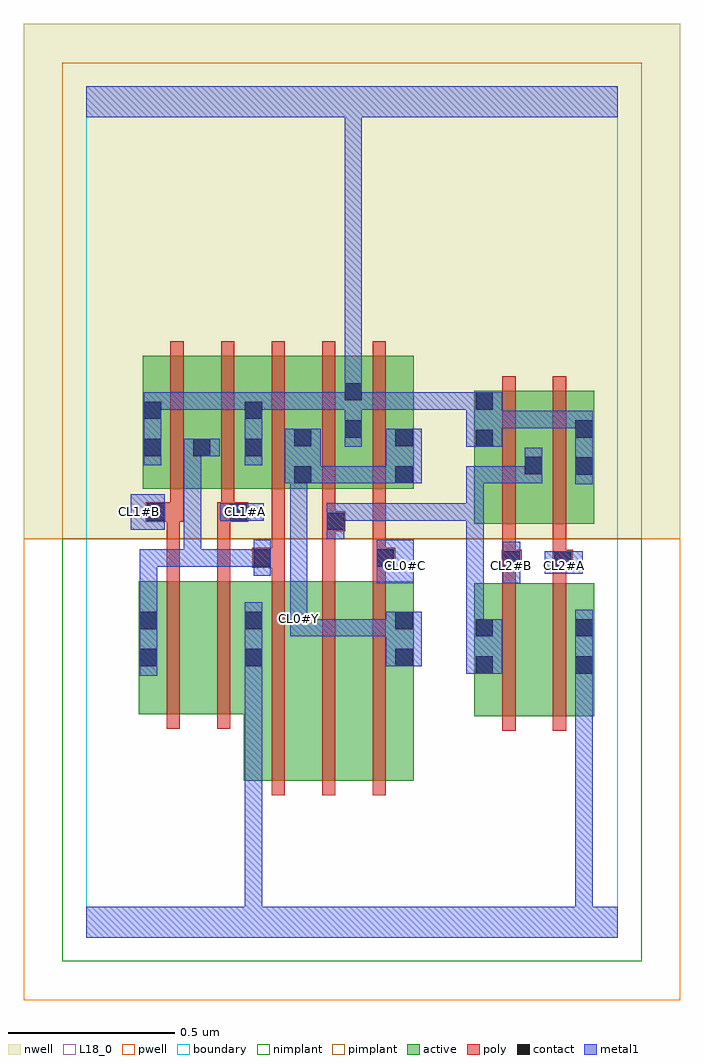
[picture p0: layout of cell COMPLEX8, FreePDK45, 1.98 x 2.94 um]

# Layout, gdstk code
import gdstk
lib = gdstk.Library(unit=1e-6, precision=1e-09)
def R(c, l, rs):  # rectangles x0, y0, x1, y1
    for r in rs: c.add(gdstk.rectangle(r[:2], r[2:], *l))
def A(c, l, x, y, w, h, nx, ny, dx, dy):  # array of equal rectangles
    R(c, l, [(x+i*dx, y+j*dy, x+i*dx+w, y+j*dy+h) for i in range(nx) for j in range(ny)])
active = (1, 0)
pwell = (2, 0)
nwell = (3, 0)
nimplant = (4, 0)
pimplant = (5, 0)
poly = (9, 0)
contact = (10, 0)
metal1 = (11, 0)
L18_0 = (18, 0)
boundary = (235, 0)

complex8 = lib.new_cell('COMPLEX8')
R(complex8, active, [(0.474,0.472,0.654,1.072), (0.474,0.472,0.534,0.984), (0.654,0.472,0.806,1.072), (0.806,0.472,0.986,1.072), (0.926,0.556,0.986,1.072), (1.168,0.666,1.228,1.066), (1.168,0.666,1.348,1.066), (1.348,0.666,1.528,1.066), (1.468,0.666,1.528,1.066), (0.158,0.672,0.218,1.072), (0.158,0.672,0.338,1.072), (0.338,0.672,0.534,1.072), (1.168,1.244,1.228,1.644), (1.168,1.244,1.376,1.644), (1.316,1.244,1.528,1.644), (1.468,1.244,1.528,1.644), (0.17,1.35,0.378,1.75), (0.17,1.35,0.23,1.644), (0.318,1.35,0.534,1.75), (0.474,1.35,0.682,1.75), (0.622,1.35,0.834,1.75), (0.774,1.35,0.986,1.75), (0.926,1.35,0.986,1.644), (0.622,1.362,0.682,1.644), (0.774,1.372,0.834,1.75), (1.316,1.39,1.376,1.644), (0.318,1.444,0.378,1.644), (0.474,1.444,0.534,1.644)])
R(complex8, pwell, [(-0.188,-0.188,1.788,1.2)])
R(complex8, nwell, [(-0.188,1.2,1.788,2.748)])
R(complex8, nimplant, [(-0.072,-0.072,1.672,1.2)])
R(complex8, pimplant, [(-0.072,1.2,1.672,2.632)])
A(complex8, poly, 0.558, 0.428, 0.04, 0.688, 3, 1, 0.152, 0)
A(complex8, poly, 0.254, 1.306, 0.04, 0.488, 5, 1, 0.152, 0)
R(complex8, poly, [(1.252,0.622,1.292,1.11), (1.404,0.622,1.444,1.11), (0.242,0.628,0.282,1.116), (0.394,0.628,0.434,1.116), (1.252,1.07,1.292,1.146), (1.404,1.07,1.444,1.146), (0.242,1.076,0.282,1.29), (0.394,1.076,0.434,1.29), (0.558,1.076,0.598,1.152), (0.71,1.076,0.75,1.262), (0.862,1.076,0.902,1.152), (1.25,1.106,1.31,1.166), (1.404,1.106,1.464,1.166), (0.5,1.112,0.598,1.172), (0.862,1.112,0.93,1.172), (1.252,1.126,1.292,1.24), (1.252,1.126,1.292,1.166), (1.252,1.126,1.292,1.166), (1.404,1.126,1.444,1.24), (1.404,1.126,1.444,1.166), (1.404,1.126,1.444,1.166), (0.558,1.132,0.598,1.172), (0.558,1.132,0.598,1.172), (0.558,1.132,0.598,1.346), (0.862,1.132,0.902,1.172), (0.862,1.132,0.902,1.172), (0.862,1.132,0.902,1.346), (1.252,1.2,1.292,1.688), (1.404,1.2,1.444,1.688), (0.71,1.222,0.75,1.262), (0.71,1.222,0.75,1.262), (0.71,1.222,0.78,1.282), (0.71,1.242,0.75,1.346), (0.18,1.25,0.294,1.31), (0.242,1.25,0.282,1.29), (0.242,1.25,0.282,1.29), (0.394,1.25,0.434,1.29), (0.394,1.25,0.434,1.29), (0.394,1.25,0.488,1.31), (0.254,1.27,0.294,1.346), (0.406,1.27,0.446,1.346)])
R(complex8, contact, [(1.172,0.794,1.224,0.846), (1.472,0.794,1.524,0.846), (0.162,0.816,0.214,0.868), (0.478,0.816,0.53,0.868), (0.93,0.816,0.982,0.868), (1.172,0.906,1.224,0.958), (1.472,0.906,1.524,0.958), (0.162,0.928,0.214,0.98), (0.478,0.928,0.53,0.98), (0.93,0.928,0.982,0.98), (1.254,1.11,1.306,1.162), (1.408,1.11,1.46,1.162), (0.504,1.116,0.556,1.168), (0.874,1.116,0.926,1.168), (0.724,1.226,0.776,1.278), (0.184,1.254,0.236,1.306), (0.432,1.254,0.484,1.306), (0.626,1.366,0.678,1.418), (0.93,1.366,0.982,1.418), (1.472,1.392,1.524,1.444), (1.32,1.394,1.372,1.446), (0.174,1.448,0.226,1.5), (0.322,1.448,0.374,1.5), (0.478,1.448,0.53,1.5), (1.172,1.476,1.224,1.528), (0.626,1.478,0.678,1.53), (0.93,1.478,0.982,1.53), (0.778,1.504,0.83,1.556), (1.472,1.504,1.524,1.556), (0.174,1.56,0.226,1.612), (0.478,1.56,0.53,1.612), (1.172,1.588,1.224,1.64), (0.778,1.616,0.83,1.668)])
R(complex8, metal1, [(0,0,1.6,0.092), (0.478,0.04,0.53,0.092), (0.478,0.04,0.53,0.092), (0.478,0.04,0.53,0.092), (0.478,0.04,0.53,0.092), (0.478,0.04,0.53,0.092), (0.478,0.04,0.53,0.092), (0.478,0.04,0.53,0.092), (0.478,0.04,0.53,0.092), (0.478,0.04,0.53,0.84), (1.472,0.04,1.524,0.818), (1.472,0.04,1.524,0.092), (1.472,0.04,1.524,0.092), (1.472,0.04,1.524,0.092), (1.472,0.04,1.524,0.092), (1.472,0.04,1.524,0.092), (1.472,0.04,1.524,0.092), (1.472,0.04,1.524,0.092), (1.472,0.04,1.524,0.092), (1.472,0.04,1.524,0.092), (1.472,0.04,1.524,0.092), (1.472,0.04,1.524,0.092), (1.472,0.04,1.524,0.092), (1.472,0.766,1.524,0.986), (0.162,0.788,0.214,1.008), (0.478,0.788,0.53,1.008), (1.144,0.794,1.252,0.958), (0.902,0.816,1.01,0.98), (0.614,0.906,0.666,1.014), (0.614,0.906,0.816,0.958), (0.764,0.906,0.816,0.958), (0.764,0.906,0.816,0.958), (0.764,0.906,0.816,0.958), (0.764,0.906,0.816,0.958), (0.764,0.906,0.816,0.958), (0.764,0.906,0.954,0.958), (0.902,0.906,0.954,0.958), (0.902,0.906,0.954,0.958), (1.144,0.906,1.196,0.958), (1.144,0.906,1.196,0.958), (1.144,0.906,1.196,1.306), (0.162,0.956,0.214,1.168), (0.614,0.962,0.666,1.418), (0.874,1.066,0.986,1.196), (1.254,1.066,1.306,1.19), (0.504,1.088,0.556,1.196), (1.38,1.094,1.494,1.162), (0.162,1.116,0.214,1.168), (0.162,1.116,0.214,1.168), (0.162,1.116,0.214,1.168), (0.162,1.116,0.346,1.168), (0.294,1.116,0.346,1.168), (0.294,1.116,0.346,1.168), (0.294,1.116,0.346,1.168), (0.294,1.116,0.506,1.168), (0.294,1.116,0.346,1.5), (0.454,1.116,0.506,1.168), (0.454,1.116,0.556,1.168), (0.724,1.198,0.776,1.306), (0.134,1.226,0.236,1.334), (0.404,1.254,0.534,1.306), (0.724,1.254,0.844,1.306), (0.792,1.254,0.844,1.306), (0.792,1.254,0.954,1.306), (0.902,1.254,0.954,1.306), (0.902,1.254,0.954,1.306), (0.902,1.254,0.954,1.306), (0.902,1.254,1.196,1.306), (1.144,1.254,1.196,1.306), (1.144,1.254,1.196,1.418), (1.472,1.364,1.524,1.584), (0.598,1.366,0.706,1.53), (0.614,1.366,0.666,1.418), (0.614,1.366,0.666,1.418), (0.654,1.366,0.816,1.418), (0.764,1.366,0.816,1.418), (0.764,1.366,0.816,1.418), (0.764,1.366,0.816,1.418), (0.764,1.366,0.954,1.418), (0.902,1.366,0.954,1.418), (0.902,1.366,0.954,1.418), (0.902,1.366,1.01,1.53), (1.144,1.366,1.196,1.418), (1.144,1.366,1.196,1.418), (1.144,1.366,1.196,1.418), (1.144,1.366,1.372,1.418), (1.32,1.366,1.372,1.474), (0.174,1.42,0.226,1.64), (0.478,1.42,0.53,1.64), (0.294,1.448,0.346,1.5), (0.294,1.448,0.346,1.5), (0.294,1.448,0.402,1.5), (0.778,1.476,0.83,1.696), (1.144,1.476,1.252,1.64), (1.2,1.532,1.252,1.584), (1.2,1.532,1.252,1.584), (1.2,1.532,1.362,1.584), (1.31,1.532,1.524,1.584), (1.31,1.532,1.362,1.584), (1.31,1.532,1.362,1.584), (1.31,1.532,1.362,1.584), (0.174,1.588,0.226,1.64), (0.174,1.588,0.226,1.64), (0.174,1.588,0.396,1.64), (0.344,1.588,0.396,1.64), (0.344,1.588,0.396,1.64), (0.344,1.588,0.396,1.64), (0.344,1.588,0.53,1.64), (0.478,1.588,0.53,1.64), (0.478,1.588,0.53,1.64), (0.478,1.588,0.706,1.64), (0.654,1.588,0.706,1.64), (0.654,1.588,0.706,1.64), (0.654,1.588,0.706,1.64), (0.654,1.588,0.83,1.64), (0.778,1.588,1.086,1.64), (1.034,1.588,1.086,1.64), (1.034,1.588,1.086,1.64), (1.034,1.588,1.086,1.64), (1.034,1.588,1.196,1.64), (0.778,1.644,0.83,2.52), (0,2.468,1.6,2.56), (0.778,2.468,0.83,2.52), (0.778,2.468,0.83,2.52), (0.778,2.468,0.83,2.52), (0.778,2.468,0.83,2.52), (0.778,2.468,0.83,2.52), (0.778,2.468,0.83,2.52), (0.778,2.468,0.83,2.52), (0.778,2.468,0.83,2.52), (0.778,2.468,0.83,2.52), (0.778,2.468,0.83,2.52), (0.778,2.468,0.83,2.52), (0.778,2.468,0.83,2.52), (0.778,2.468,0.83,2.52), (0.778,2.468,0.83,2.52), (0.778,2.468,0.83,2.52), (0.778,2.468,0.83,2.52)])
R(complex8, L18_0, [(0,0,1.6,0.092), (0.478,0.04,0.53,0.092), (0.478,0.04,0.53,0.092), (0.478,0.04,0.53,0.092), (0.478,0.04,0.53,0.092), (0.478,0.04,0.53,0.092), (0.478,0.04,0.53,0.092), (0.478,0.04,0.53,0.092), (0.478,0.04,0.53,0.092), (0.478,0.04,0.53,0.84), (1.472,0.04,1.524,0.092), (1.472,0.04,1.524,0.092), (1.472,0.04,1.524,0.092), (1.472,0.04,1.524,0.092), (1.472,0.04,1.524,0.092), (1.472,0.04,1.524,0.092), (1.472,0.04,1.524,0.092), (1.472,0.04,1.524,0.092), (1.472,0.04,1.524,0.092), (1.472,0.04,1.524,0.092), (1.472,0.04,1.524,0.092), (1.472,0.04,1.524,0.092), (1.472,0.04,1.524,0.818), (1.472,0.766,1.524,0.986), (0.478,0.788,0.53,1.008), (0.902,0.816,1.01,0.98), (0.614,0.906,0.666,1.014), (0.614,0.906,0.816,0.958), (0.764,0.906,0.816,0.958), (0.764,0.906,0.816,0.958), (0.764,0.906,0.816,0.958), (0.764,0.906,0.816,0.958), (0.764,0.906,0.816,0.958), (0.764,0.906,0.954,0.958), (0.902,0.906,0.954,0.958), (0.902,0.906,0.954,0.958), (0.614,0.934,0.666,0.986), (0.614,0.962,0.666,1.418), (0.874,1.066,0.986,1.196), (1.254,1.066,1.306,1.19), (0.934,1.094,0.986,1.146), (1.254,1.094,1.306,1.146), (1.38,1.094,1.494,1.162), (1.414,1.094,1.466,1.146), (0.134,1.226,0.236,1.334), (0.134,1.254,0.186,1.306), (0.404,1.254,0.534,1.306), (0.454,1.254,0.506,1.306), (1.472,1.364,1.524,1.584), (0.598,1.366,0.706,1.53), (0.614,1.366,0.666,1.418), (0.614,1.366,0.666,1.418), (0.654,1.366,0.816,1.418), (0.764,1.366,0.816,1.418), (0.764,1.366,0.816,1.418), (0.764,1.366,0.816,1.418), (0.764,1.366,0.954,1.418), (0.902,1.366,0.954,1.418), (0.902,1.366,0.954,1.418), (0.902,1.366,1.01,1.53), (0.174,1.42,0.226,1.64), (0.478,1.42,0.53,1.64), (0.778,1.476,0.83,1.696), (1.144,1.476,1.252,1.64), (1.2,1.532,1.252,1.584), (1.2,1.532,1.252,1.584), (1.2,1.532,1.362,1.584), (1.31,1.532,1.362,1.584), (1.31,1.532,1.362,1.584), (1.31,1.532,1.362,1.584), (1.31,1.532,1.524,1.584), (0.174,1.588,0.226,1.64), (0.174,1.588,0.226,1.64), (0.174,1.588,0.396,1.64), (0.344,1.588,0.396,1.64), (0.344,1.588,0.396,1.64), (0.344,1.588,0.396,1.64), (0.344,1.588,0.53,1.64), (0.478,1.588,0.53,1.64), (0.478,1.588,0.53,1.64), (0.478,1.588,0.706,1.64), (0.654,1.588,0.706,1.64), (0.654,1.588,0.706,1.64), (0.654,1.588,0.706,1.64), (0.654,1.588,0.83,1.64), (0.778,1.588,1.086,1.64), (1.034,1.588,1.086,1.64), (1.034,1.588,1.086,1.64), (1.034,1.588,1.086,1.64), (1.034,1.588,1.196,1.64), (0.778,1.644,0.83,2.52), (0,2.468,1.6,2.56), (0.778,2.468,0.83,2.52), (0.778,2.468,0.83,2.52), (0.778,2.468,0.83,2.52), (0.778,2.468,0.83,2.52), (0.778,2.468,0.83,2.52), (0.778,2.468,0.83,2.52), (0.778,2.468,0.83,2.52), (0.778,2.468,0.83,2.52), (0.778,2.468,0.83,2.52), (0.778,2.468,0.83,2.52), (0.778,2.468,0.83,2.52), (0.778,2.468,0.83,2.52), (0.778,2.468,0.83,2.52), (0.778,2.468,0.83,2.52), (0.778,2.468,0.83,2.52), (0.778,2.468,0.83,2.52)])
R(complex8, boundary, [(0,0,1.6,2.56)])
complex8.add(gdstk.Label('CL0#C', (0.96,1.12), layer=11, texttype=0))
complex8.add(gdstk.Label('CL0#Y', (0.64,0.96), layer=11, texttype=0))
complex8.add(gdstk.Label('CL1#A', (0.48,1.28), layer=11, texttype=0))
complex8.add(gdstk.Label('CL1#B', (0.16,1.28), layer=11, texttype=0))
complex8.add(gdstk.Label('CL2#A', (1.44,1.12), layer=11, texttype=0))
complex8.add(gdstk.Label('CL2#B', (1.28,1.12), layer=11, texttype=0))

lib.write_gds('COMPLEX8.gds')
